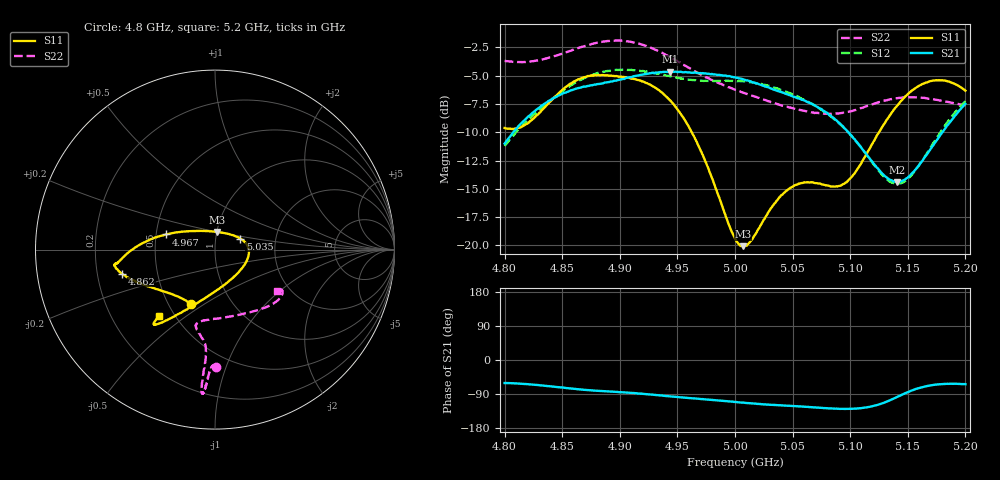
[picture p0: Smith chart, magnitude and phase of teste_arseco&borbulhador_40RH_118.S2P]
! Network Analyzer HP8722D
! Hewlett-Packard
! Data name: Linha & Wilkinson
! Saver's name: Rodrigo Anjos
! Comments: Teste da utilização de aquisição
! continua pelo VNA HP8722D
! Time and date: 15/4/2025 17:20
!  Frequency  S11  S21  S12  S22
# HZ  S  MA R 50
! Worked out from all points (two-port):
!   401 points, 4.8 GHz to 5.2 GHz, reference 50 ohm
!   highest |S21| = -4.63 dB at 4.944 GHz (marker M1); lowest = -14.4 dB at 5.141 GHz (marker M2)
!   |S21| within 3 dB of the highest: 4.832 GHz to 5.069 GHz (237.1 MHz wide, 4.79 % of centre); 5.198638 GHz to end of sweep
!   lowest |S11| = -20.1 dB at 5.007 GHz (marker M3), VSWR 1.22, Z = 50.1 + j9.97 ohm
!   |S11| at or under -10 dB: 4.962 GHz to 5.125 GHz (162.6 MHz wide, 3.22 % of centre)
!   |S22| runs from -8.4 to -1.9 dB; largest |S21 - S12| = 0.88
!   S11 on the Smith chart (normalised r, x): 4.8 GHz: 0.65, -0.44; 4.862 GHz: 0.31, -0.12; 4.967 GHz: 0.57, +0.10; 5.035 GHz: 1.32, +0.16; 5.2 GHz: 0.41, -0.40
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4.8e9  0.3303 -113.6  0.2816 -60.8  0.275 -175.0  0.6539 -89.4
4.819e9  0.3443 -133.4  0.3648 -63.7  0.3527 -173.1  0.649 -91.1
4.862e9  0.5354 -165.5  0.493 -76.5  0.5256 -176.3  0.7403 -93.5
4.867e9  0.5494 -167.4  0.5008 -78.0  0.5413 -177.2  0.7545 -93.6
4.9e9  0.5575 -172.0  0.5396 -84.8  0.5981 176.1  0.8041 -95.0
4.934e9  0.4853 -177.9  0.5818 -93.2  0.5739 171.9  0.7204 -95.4
4.944e9  0.4361 177.7  0.5866 -96.1  0.5579 172.2  0.6787 -95.4
4.967e9  0.285 162.7  0.5783 -102.1  0.5347 174.2  0.5808 -95.0
5e9  0.1075 107.6  0.554 -110.7  0.5338 176.5  0.4875 -99.3
5.007e9  0.09916 83.8  0.5421 -112.5  0.5306 176.5  0.4734 -100.9
5.014e9  0.105 61.6  0.5299 -114.3  0.5272 176.2  0.4604 -102.5
5.035e9  0.1544 23.3  0.4855 -118.8  0.4977 175.1  0.4241 -103.9
5.05e9  0.1817 7.3  0.4559 -121.4  0.4639 174.4  0.4042 -100.3
5.067e9  0.1901 -10.9  0.4211 -124.6  0.4224 173.9  0.387 -91.8
5.085e9  0.182 -39.5  0.3677 -128.2  0.3652 173.9  0.3821 -78.6
5.097e9  0.19 -64.7  0.3217 -129.0  0.3209 174.3  0.3882 -68.6
5.134e9  0.3729 -115.9  0.1955 -107.0  0.1916 -159.7  0.4415 -43.4
5.141e9  0.416 -119.8  0.1904 -97.1  0.187 -148.8  0.4475 -40.2
5.153e9  0.481 -124.8  0.2067 -81.0  0.2039 -130.2  0.4517 -35.9
5.17e9  0.5328 -128.4  0.2675 -66.9  0.2722 -112.9  0.444 -32.1
5.184e9  0.5323 -129.7  0.338 -62.8  0.3487 -107.1  0.4315 -31.1
5.2e9  0.483 -130.2  0.4223 -63.8  0.4343 -105.9  0.4159 -33.3
